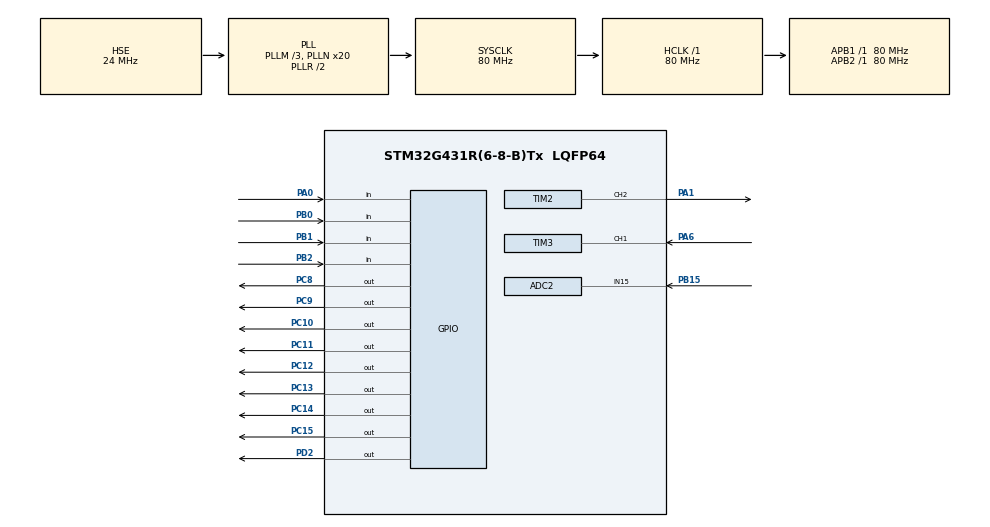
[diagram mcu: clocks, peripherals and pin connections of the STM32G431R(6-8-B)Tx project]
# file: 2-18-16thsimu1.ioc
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ADC2.Channel-0\#ChannelRegularConversion=ADC_CHANNEL_15
ADC2.ClockPrescaler=ADC_CLOCK_ASYNC_DIV128
ADC2.NbrOfConversionFlag=1
ADC2.OffsetNumber-0\#ChannelRegularConversion=ADC_OFFSET_NONE
ADC2.Rank-0\#ChannelRegularConversion=1
ADC2.SamplingTime-0\#ChannelRegularConversion=ADC_SAMPLETIME_2CYCLES_5
Mcu.Family=STM32G4
Mcu.Name=STM32G431R(6-8-B)Tx
Mcu.Package=LQFP64
NVIC.ADC1_2_IRQn=true\:2\:0\:true\:false\:true\:true\:true\:true
NVIC.PriorityGroup=NVIC_PRIORITYGROUP_4
NVIC.TIM3_IRQn=true\:0\:0\:false\:false\:true\:true\:true\:true
NVIC.TIM7_IRQn=true\:1\:0\:true\:false\:true\:true\:true\:true
PA0.GPIO_Mode=GPIO_MODE_INPUT
PA0.GPIO_PuPd=GPIO_PULLUP
PA0.Signal=GPIO_Input
PA1.Signal=S_TIM2_CH2
PA13.Mode=Serial_Wire
PA13.Signal=SYS_JTMS-SWDIO
PA14.Mode=Serial_Wire
PA14.Signal=SYS_JTCK-SWCLK
PA6.Signal=S_TIM3_CH1
PB0.GPIO_Mode=GPIO_MODE_INPUT
PB0.GPIO_PuPd=GPIO_PULLUP
PB0.Signal=GPIO_Input
PB1.GPIO_Mode=GPIO_MODE_INPUT
PB1.GPIO_PuPd=GPIO_PULLUP
PB1.Signal=GPIO_Input
PB15.Mode=IN15-Single-Ended
PB15.Signal=ADC2_IN15
PB2.GPIO_Mode=GPIO_MODE_INPUT
PB2.GPIO_PuPd=GPIO_PULLUP
PB2.Signal=GPIO_Input
PC10.PinState=GPIO_PIN_SET
PC10.Signal=GPIO_Output
PC11.PinState=GPIO_PIN_SET
PC11.Signal=GPIO_Output
PC12.PinState=GPIO_PIN_SET
PC12.Signal=GPIO_Output
PC13.PinState=GPIO_PIN_SET
PC13.Signal=GPIO_Output
PC14-OSC32_IN.PinState=GPIO_PIN_SET
PC14-OSC32_IN.Signal=GPIO_Output
PC15-OSC32_OUT.PinState=GPIO_PIN_SET
PC15-OSC32_OUT.Signal=GPIO_Output
PC8.PinState=GPIO_PIN_SET
PC8.Signal=GPIO_Output
PC9.PinState=GPIO_PIN_SET
PC9.Signal=GPIO_Output
PD2.PinState=GPIO_PIN_SET
PD2.Signal=GPIO_Output
PF0-OSC_IN.Mode=HSE-External-Oscillator
PF0-OSC_IN.Signal=RCC_OSC_IN
PF1-OSC_OUT.Mode=HSE-External-Oscillator
PF1-OSC_OUT.Signal=RCC_OSC_OUT
ProjectManager.HeapSize=0x200
ProjectManager.StackSize=0x400
ProjectManager.TargetToolchain=MDK-ARM V5.32
RCC.ADC12Freq_Value=80000000
RCC.AHBFreq_Value=80000000
RCC.APB1Freq_Value=80000000
RCC.APB1TimFreq_Value=80000000
RCC.APB2Freq_Value=80000000
RCC.APB2TimFreq_Value=80000000
RCC.CortexFreq_Value=80000000
RCC.EXTERNAL_CLOCK_VALUE=12288000
RCC.HCLKFreq_Value=80000000
RCC.HSE_VALUE=24000000
RCC.HSI48_VALUE=48000000
RCC.HSI_VALUE=16000000
RCC.LSE_VALUE=32768
RCC.PLLM=RCC_PLLM_DIV3
RCC.PLLN=20
RCC.PLLSourceVirtual=RCC_PLLSOURCE_HSE
RCC.SYSCLKFreq_VALUE=80000000
RCC.SYSCLKSource=RCC_SYSCLKSOURCE_PLLCLK
RCC.USBFreq_Value=80000000
RCC.VCOOutputFreq_Value=160000000
SH.S_TIM2_CH2.0=TIM2_CH2,PWM Generation2 CH2
SH.S_TIM3_CH1.0=TIM3_CH1,Input_Capture1_from_TI1
TIM2.Channel-PWM\ Generation2\ CH2=TIM_CHANNEL_2
TIM2.PeriodNoDither=1000-1
TIM2.Prescaler=80-1
TIM2.PulseNoDither_2=300-1
TIM3.Channel-Input_Capture1_from_TI1=TIM_CHANNEL_1
TIM3.Channel-Input_Capture2_from_TI1_63=TIM_CHANNEL_2
TIM3.ICPolarity_CH1=TIM_INPUTCHANNELPOLARITY_FALLING
TIM3.Prescaler=80-1
TIM7.PeriodNoDither=1000-1
TIM7.Prescaler=80-1
VP_SYS_VS_DBSignals.Mode=DisableDeadBatterySignals
VP_TIM3_VS_ClockSourceINT.Mode=Internal
VP_TIM3_VS_indirect_ch1.Mode=Input_Capture2_from_TI1_63
VP_TIM7_VS_ClockSourceINT.Mode=Enable_Timer
board=custom

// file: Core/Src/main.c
/* USER CODE BEGIN Header */
/**
  ******************************************************************************
  * @file           : main.c
  * @brief          : Main program body
  ******************************************************************************
  * @attention
  *
  * Copyright (c) 2025 STMicroelectronics.
  * All rights reserved.
  *
  * This software is licensed under terms that can be found in the LICENSE file
  * in the root directory of this software component.
  * If no LICENSE file comes with this software, it is provided AS-IS.
  *
  ******************************************************************************
  */
/* USER CODE END Header */
#include "main.h"
#include "adc.h"
#include "tim.h"
#include "gpio.h"

/* USER CODE BEGIN Includes */
#include "headfile.h"

/* USER CODE END Includes */

void SystemClock_Config(void);

int main(void)
{

  /* MCU Configuration--------------------------------------------------------*/

  /* Reset of all peripherals, Initializes the Flash interface and the Systick. */
  HAL_Init();

  /* Configure the system clock */
  SystemClock_Config();

  /* Initialize all configured peripherals */
  MX_GPIO_Init();
  MX_TIM7_Init();
  MX_ADC2_Init();
  MX_TIM2_Init();
  MX_TIM3_Init();
  /* USER CODE BEGIN 2 */
	HAL_GPIO_WritePin(GPIOD, GPIO_PIN_2, GPIO_PIN_RESET);
	led_show(1,0);
	led_show(2,0);
	led_show(3,0);
	led_show(4,0);
	led_show(5,0);
	led_show(6,0);
	led_show(7,0);
	led_show(8,0);

	led_show(1,1);

	HAL_TIM_Base_Start_IT(&htim7);

	LCD_Init();
	LCD_Clear(Black);
	LCD_SetTextColor(White);
	LCD_SetBackColor(Black);

  HAL_ADCEx_Calibration_Start(&hadc2,ADC_SINGLE_ENDED);
  HAL_TIM_PWM_Start_IT(&htim2,TIM_CHANNEL_2);
  __HAL_TIM_SetCounter(&htim2,300-1);
  HAL_TIM_IC_Start_IT(&htim3,TIM_CHANNEL_1);
  HAL_TIM_IC_Start_IT(&htim3,TIM_CHANNEL_2);
  /* USER CODE END 2 */

  /* Infinite loop */
  /* USER CODE BEGIN WHILE */
  while (1)
  {
    while_fun();
    /* USER CODE END WHILE */

  }
}

void SystemClock_Config(void)
{
  RCC_OscInitTypeDef RCC_OscInitStruct = {0};
  RCC_ClkInitTypeDef RCC_ClkInitStruct = {0};

  /** Configure the main internal regulator output voltage
  */
  HAL_PWREx_ControlVoltageScaling(PWR_REGULATOR_VOLTAGE_SCALE1);

  /** Initializes the RCC Oscillators according to the specified parameters
  * in the RCC_OscInitTypeDef structure.
  */
  RCC_OscInitStruct.OscillatorType = RCC_OSCILLATORTYPE_HSE;
  RCC_OscInitStruct.HSEState = RCC_HSE_ON;
  RCC_OscInitStruct.PLL.PLLState = RCC_PLL_ON;
  RCC_OscInitStruct.PLL.PLLSource = RCC_PLLSOURCE_HSE;
  RCC_OscInitStruct.PLL.PLLM = RCC_PLLM_DIV3;
  RCC_OscInitStruct.PLL.PLLN = 20;
  RCC_OscInitStruct.PLL.PLLP = RCC_PLLP_DIV2;
  RCC_OscInitStruct.PLL.PLLQ = RCC_PLLQ_DIV2;
  RCC_OscInitStruct.PLL.PLLR = RCC_PLLR_DIV2;
  if (HAL_RCC_OscConfig(&RCC_OscInitStruct) != HAL_OK)
  {
    Error_Handler();
  }

  /** Initializes the CPU, AHB and APB buses clocks
  */
  RCC_ClkInitStruct.ClockType = RCC_CLOCKTYPE_HCLK|RCC_CLOCKTYPE_SYSCLK
                              |RCC_CLOCKTYPE_PCLK1|RCC_CLOCKTYPE_PCLK2;
  RCC_ClkInitStruct.SYSCLKSource = RCC_SYSCLKSOURCE_PLLCLK;
  RCC_ClkInitStruct.AHBCLKDivider = RCC_SYSCLK_DIV1;
  RCC_ClkInitStruct.APB1CLKDivider = RCC_HCLK_DIV1;
  RCC_ClkInitStruct.APB2CLKDivider = RCC_HCLK_DIV1;

  if (HAL_RCC_ClockConfig(&RCC_ClkInitStruct, FLASH_LATENCY_2) != HAL_OK)
  {
    Error_Handler();
  }
}

void Error_Handler(void)
{
  __disable_irq();
  while (1)
  {
  }
}
